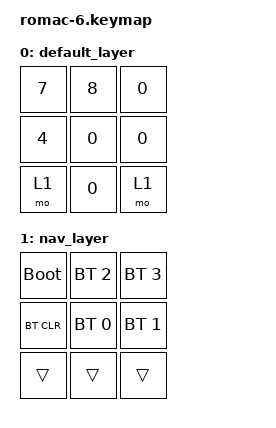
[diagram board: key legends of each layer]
/*
 * Copyright (c) 2020 The ZMK Contributors
 *
 * SPDX-License-Identifier: MIT
 */

#include <behaviors.dtsi>
#include <dt-bindings/zmk/keys.h>
#include <dt-bindings/zmk/bt.h>

/ {
    keymap {
        compatible = "zmk,keymap";

        default_layer {
// -------------------
// | 7      |  8  |  9  |
// | 4      |  5  |  6  |
// | 1      |  2  |  3  |
// | MO(1)  |  0  |MO(1)  |
// ----------------------
            bindings = <
    &kp N7 &kp N8 &kp N0
    &kp N4 &kp N0 &kp N0
    &mo 1  &kp N0 &mo 1
            >;
        };

        nav_layer {
// -----------------------
// | BTNXT |  HOME  |  PGUP  |
// | BTPRV |  END   |  PGDN  |
// | BTCLR |  _     |  _     |
// | _     |  _     |  RET   |
// -----------------------
            bindings = <
    &bootloader &bt BT_SEL 2  &bt BT_SEL 3
    &bt BT_CLR &bt BT_SEL 0 &bt BT_SEL 1
    &trans     &trans   &trans
            >;
        };
    };
};

